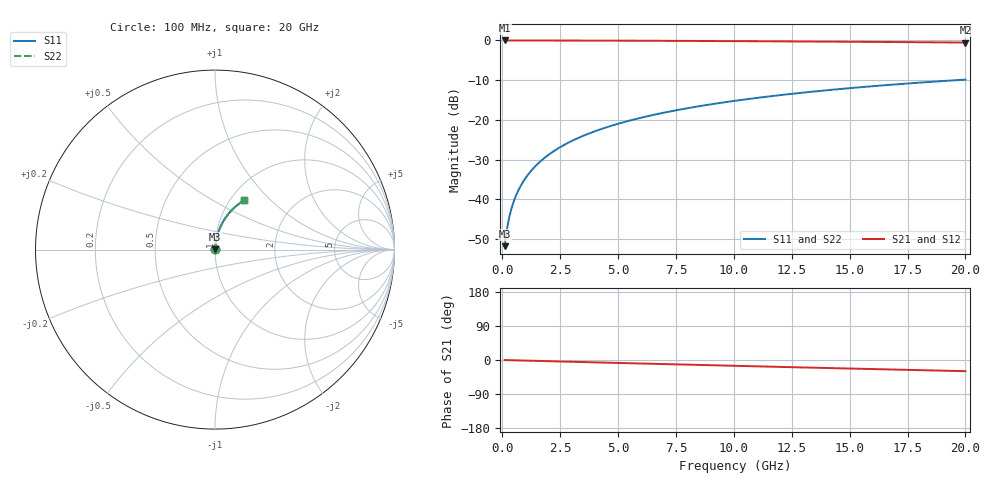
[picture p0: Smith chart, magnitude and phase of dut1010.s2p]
! Touchstone file exported from HFSS 2026.1.0
!  File:  C:/ffzhzh/LocalFiles/Ansys_Project_Files/temp_train_BSMRDL_1010_1783173254_55132.aedt
!  Generated:  09:55:31 PM Jul  4, 2026
!  Design:  BSMRDL
!  Project:  temp_train_BSMRDL_1010_1783173254_55132
! Variables:
!  h_bsmrdl = 4.33um
!  h_ox = 20um
!  h_rdl = 5um
!  h_sub = 80um
!  h_tmrdl = 5um
!  h_tsv = 80um
!  h_via = 3um
!  l_bsmrdl = 372.97um
!  l_sub = 772.97um
!  l_tmrdl = 200um
!  m_sub = 200um
!  pitch = 55.41um
!  r_tsv = 6um
!  s_tmrdl = 10um
!  w_bsmrdl = 19.82um
!  w_sub = 500um
!  w_tmrdl = 12um
!  x_tsv_center1 = 206um
!  x_tsv_center2 = 598.79um
!  x_tsv_center3 = 810.79um
!  x_tsv_center4 = 1203.58um
!  x_tsv_center5 = 1415.58um
!  x_tsv_center6 = 1808.37um
# GHz S MA R 50.000000
! Terminal data exported
! Port[1] = BSM_RDL1_1_T1
! Port[2] = BSM_RDL1_1_T2
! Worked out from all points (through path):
!   200 points, 100 MHz to 20 GHz, reference 50 ohm
!   highest |S21| = -0.01 dB at 100 MHz (marker M1); lowest = -0.5 dB at 20 GHz (marker M2)
!   group delay of S21, straight-line fit = 4.1 ps
!   lowest |S11| = -51.8 dB at 100 MHz (marker M3), VSWR 1.01, Z = 50.2 + j0.192 ohm
!   |S11| at or under -10 dB: start of sweep to 19.66 GHz
!   |S22| runs from -51.8 to -9.9 dB; largest |S21 - S12| = 2e-15
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0.1  0.002561 48.4  0.9983 -0.2  0.9983 -0.2  0.002561 48.4
! Gamma 0 0 0 0
! Port Impedance 50 0 50 0
0.2  0.004192 64.8  0.9982 -0.3  0.9982 -0.3  0.004192 64.8
0.3  0.005937 71.5  0.9981 -0.5  0.9981 -0.5  0.005937 71.5
0.4  0.0077 75.0  0.9981 -0.6  0.9981 -0.6  0.0077 75.0
0.5  0.009469 77.3  0.998 -0.8  0.998 -0.8  0.009468 77.3
0.7  0.01302 79.9  0.9979 -1.1  0.9979 -1.1  0.01302 79.9
0.8  0.0148 80.7  0.9979 -1.3  0.9979 -1.3  0.0148 80.7
1  0.01837 81.8  0.9978 -1.6  0.9978 -1.6  0.01837 81.8
1.2  0.02196 82.4  0.9976 -1.9  0.9976 -1.9  0.02195 82.4
1.4  0.02554 82.8  0.9975 -2.2  0.9975 -2.2  0.02554 82.8
1.7  0.03092 83.1  0.9973 -2.7  0.9973 -2.7  0.03092 83.1
2  0.03629 83.1  0.997 -3.1  0.997 -3.1  0.03629 83.1
2.7  0.04878 82.7  0.9962 -4.2  0.9962 -4.2  0.04878 82.7
3.5  0.06295 81.8  0.9951 -5.5  0.9951 -5.5  0.06295 81.8
4.2  0.07524 81.0  0.9939 -6.6  0.9939 -6.6  0.07524 81.0
5  0.08915 79.9  0.9924 -7.8  0.9924 -7.8  0.08915 79.9
6.8  0.1199 77.4  0.9884 -10.5  0.9884 -10.5  0.1199 77.4
8.3  0.145 75.3  0.9846 -12.8  0.9846 -12.8  0.145 75.3
10.1  0.1744 72.8  0.9792 -15.4  0.9792 -15.4  0.1744 72.8
13.4  0.2263 68.2  0.9678 -20.3  0.9678 -20.3  0.2263 68.2
16.7  0.2752 63.6  0.9546 -25.0  0.9546 -25.0  0.2752 63.6
20  0.3208 59.2  0.9399 -29.5  0.9399 -29.5  0.3208 59.2
